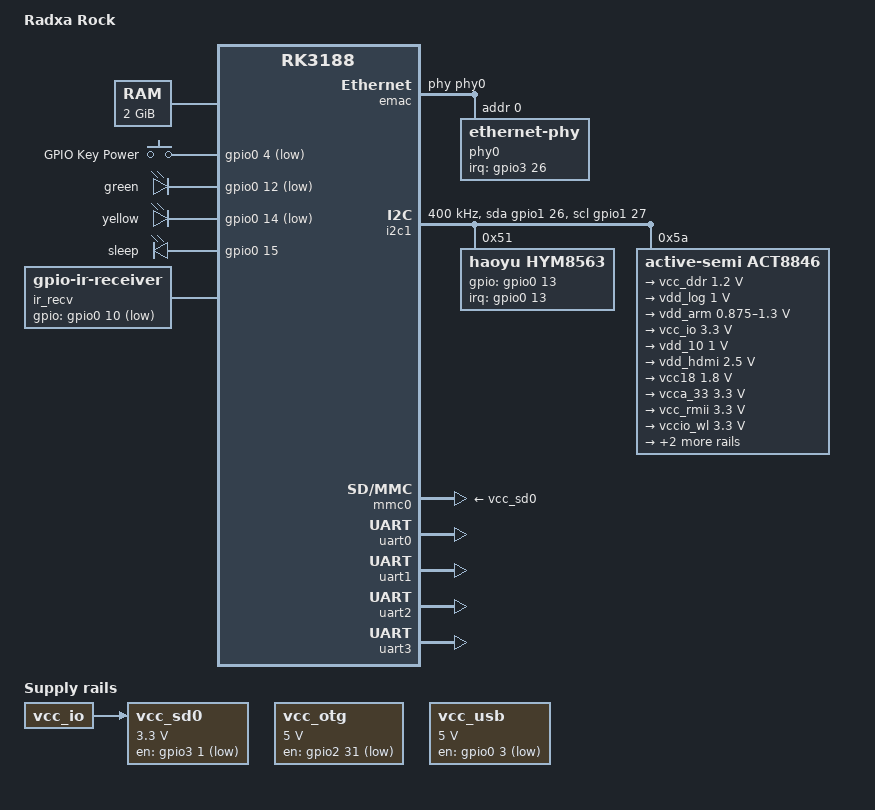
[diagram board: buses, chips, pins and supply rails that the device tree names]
/*
 * Copyright (c) 2013 Heiko Stuebner <heiko@sntech.de>
 *
 * This program is free software; you can redistribute it and/or modify
 * it under the terms of the GNU General Public License as published by
 * the Free Software Foundation; either version 2 of the License, or
 * (at your option) any later version.
 *
 * This program is distributed in the hope that it will be useful,
 * but WITHOUT ANY WARRANTY; without even the implied warranty of
 * MERCHANTABILITY or FITNESS FOR A PARTICULAR PURPOSE.  See the
 * GNU General Public License for more details.
 */

/dts-v1/;
#include "rk3188.dtsi"

/ {
	model = "Radxa Rock";
	compatible = "radxa,rock", "rockchip,rk3188";

	aliases {
		i2c0 = &i2c0;
		i2c1 = &i2c1;
		i2c2 = &i2c2;
		i2c3 = &i2c3;
		i2c4 = &i2c4;
	};

	memory {
		reg = <0x60000000 0x80000000>;
	};

	cpus {
		cpu@0 {
			cpu0-supply = <&vdd_arm>;
		};
	};

	gpio-keys {
		compatible = "gpio-keys";
		#address-cells = <1>;
		#size-cells = <0>;
		autorepeat;

		button@0 {
			gpios = <&gpio0 4 GPIO_ACTIVE_LOW>;
			linux,code = <116>;
			label = "GPIO Key Power";
			linux,input-type = <1>;
			gpio-key,wakeup = <1>;
			debounce-interval = <100>;
		};
	};

	gpio-leds {
		compatible = "gpio-leds";

		green {
			gpios = <&gpio0 12 GPIO_ACTIVE_LOW>;
			default-state = "off";
		};

		yellow {
			gpios = <&gpio0 14 GPIO_ACTIVE_LOW>;
			default-state = "off";
		};

		sleep {
			gpios = <&gpio0 15 0>;
			default-state = "off";
		};
	};

	ir_recv: gpio-ir-receiver {
		compatible = "gpio-ir-receiver";
		gpios = <&gpio0 10 1>;
		pinctrl-names = "default";
		pinctrl-0 = <&ir_recv_pin>;
	};

	vcc_sd0: sdmmc-regulator {
		compatible = "regulator-fixed";
		regulator-name = "sdmmc-supply";
		regulator-min-microvolt = <3300000>;
		regulator-max-microvolt = <3300000>;
		gpio = <&gpio3 1 GPIO_ACTIVE_LOW>;
		startup-delay-us = <100000>;
		vin-supply = <&vcc_io>;
	};

	vcc_otg: usb-otg-regulator {
		compatible = "regulator-fixed";
		regulator-name = "otg-vbus";
		regulator-min-microvolt = <5000000>;
		regulator-max-microvolt = <5000000>;
		gpio = <&gpio2 31 GPIO_ACTIVE_LOW>;
		startup-delay-us = <100000>;
	};

	vcc_usb: usb-host-regulator {
		compatible = "regulator-fixed";
		regulator-name = "usb-vbus";
		regulator-min-microvolt = <5000000>;
		regulator-max-microvolt = <5000000>;
		gpio = <&gpio0 3 GPIO_ACTIVE_LOW>;
		startup-delay-us = <100000>;
	};
};

&emac {
	status = "okay";

	pinctrl-names = "default";
	pinctrl-0 = <&emac_xfer>, <&emac_mdio>, <&phy_int>;

	mac-address = [ c6 ef 91 8e 60 4b ];
	phy = <&phy0>;

	phy0: ethernet-phy@0 {
		reg = <0>;
		interrupt-parent = <&gpio3>;
		interrupts = <26 IRQ_TYPE_LEVEL_LOW>;
	};
};



&i2c1 {
	status = "okay";
	clock-frequency = <400000>;

	/* due to "random" init ordering and unsupported regulator handling
	 * in the arc_emac, using the rk3x-i2c breaks the network interface.
	 * There is a fix in the works though.
	 */
	compatible = "i2c-gpio";
	gpios = <&gpio1 26 0   /* sda */
		 &gpio1 27 0>; /* scl */
	i2c-gpio,sda-open-drain;
	i2c-gpio,scl-open-drain;
	i2c-gpio,delay-us = <2>;	/* ~100 kHz */

	hym8563@51 {
		compatible = "haoyu,hym8563";
		reg = <0x51>;

		interrupt-parent = <&gpio0>;
		interrupts = <13 IRQ_TYPE_EDGE_FALLING>; /* gpio0_b5 */

		gpios = <&gpio0 13 0>;

		pinctrl-names = "default";
		pinctrl-0 = <&hym8563_int>;

		#clock-cells = <0>;
		clock-output-names = "xin32k";
	};


	act8846: act8846@5a {
		compatible = "active-semi,act8846";
		reg = <0x5a>;
		status = "okay";

		pinctrl-names = "default";
		pinctrl-0 = <&act8846_dvs0_ctl>;

		regulators {
			vcc_ddr: REG1 {
				regulator-name = "VCC_DDR";
				regulator-min-microvolt = <1200000>;
				regulator-max-microvolt = <1200000>;
				regulator-always-on;
			};

			vdd_log: REG2 {
				regulator-name = "VDD_LOG";
				regulator-min-microvolt = <1000000>;
				regulator-max-microvolt = <1000000>;
				regulator-always-on;
			};

			vdd_arm: REG3 {
				regulator-name = "VDD_ARM";
				regulator-min-microvolt = <875000>;
				regulator-max-microvolt = <1300000>;
				regulator-always-on;
			};

			vcc_io: REG4 {
				regulator-name = "VCC_IO";
				regulator-min-microvolt = <3300000>;
				regulator-max-microvolt = <3300000>;
				regulator-always-on;
			};

			vdd_10: REG5 {
				regulator-name = "VDD_10";
				regulator-min-microvolt = <1000000>;
				regulator-max-microvolt = <1000000>;
				regulator-always-on;
			};

			vdd_hdmi: REG6 {
				regulator-name = "VDD_HDMI";
				regulator-min-microvolt = <2500000>;
				regulator-max-microvolt = <2500000>;
				regulator-always-on;
			};

			vcc18: REG7 {
				regulator-name = "VCC_18";
				regulator-min-microvolt = <1800000>;
				regulator-max-microvolt = <1800000>;
				regulator-always-on;
			};

			vcca_33: REG8 {
				regulator-name = "VCCA_33";
				regulator-min-microvolt = <3300000>;
				regulator-max-microvolt = <3300000>;
				regulator-always-on;
			};

			vcc_rmii: REG9 {
				regulator-name = "VCC_RMII";
				regulator-min-microvolt = <3300000>;
				regulator-max-microvolt = <3300000>;
				regulator-always-on;
			};

			vccio_wl: REG10 {
				regulator-name = "VCCIO_WL";
				regulator-min-microvolt = <3300000>;
				regulator-max-microvolt = <3300000>;
				regulator-always-on;
			};

			vcc_18: REG11 {
				regulator-name = "VCC18_IO";
				regulator-min-microvolt = <1800000>;
				regulator-max-microvolt = <1800000>;
				regulator-always-on;
			};

			vcc28: REG12 {
				regulator-name = "VCC_28";
				regulator-min-microvolt = <2800000>;
				regulator-max-microvolt = <2800000>;
				regulator-always-on;
			};
		};
	};
};

&mmc0 {
	num-slots = <1>;
	status = "okay";
	vmmc-supply = <&vcc_sd0>;

	slot@0 {
		reg = <0>;
		bus-width = <4>;
		disable-wp;
	};
};

&pinctrl {
	pcfg_output_low: pcfg-output-low {
		output-low;
	};

	act8846 {
		act8846_dvs0_ctl: act8846-dvs0-ctl {
			rockchip,pins = <RK_GPIO3 27 RK_FUNC_GPIO &pcfg_output_low>;
		};
	};

	hym8563 {
		hym8563_int: hym8563-int {
			rockchip,pins = <RK_GPIO0 0 RK_FUNC_GPIO &pcfg_pull_up>;
		};
	};

	lan8720a  {
		phy_int: phy-int {
			rockchip,pins = <RK_GPIO3 26 RK_FUNC_GPIO &pcfg_pull_up>;
		};
	};

	ir-receiver {
		ir_recv_pin: ir-recv-pin {
			rockchip,pins = <RK_GPIO0 10 RK_FUNC_GPIO &pcfg_pull_none>;
		};
	};
};

&uart0 {
	status = "okay";
};

&uart1 {
	status = "okay";
};

&uart2 {
	pinctrl-names = "default";
	pinctrl-0 = <&uart2_xfer>;
	status = "okay";
};

&uart3 {
	status = "okay";
};
